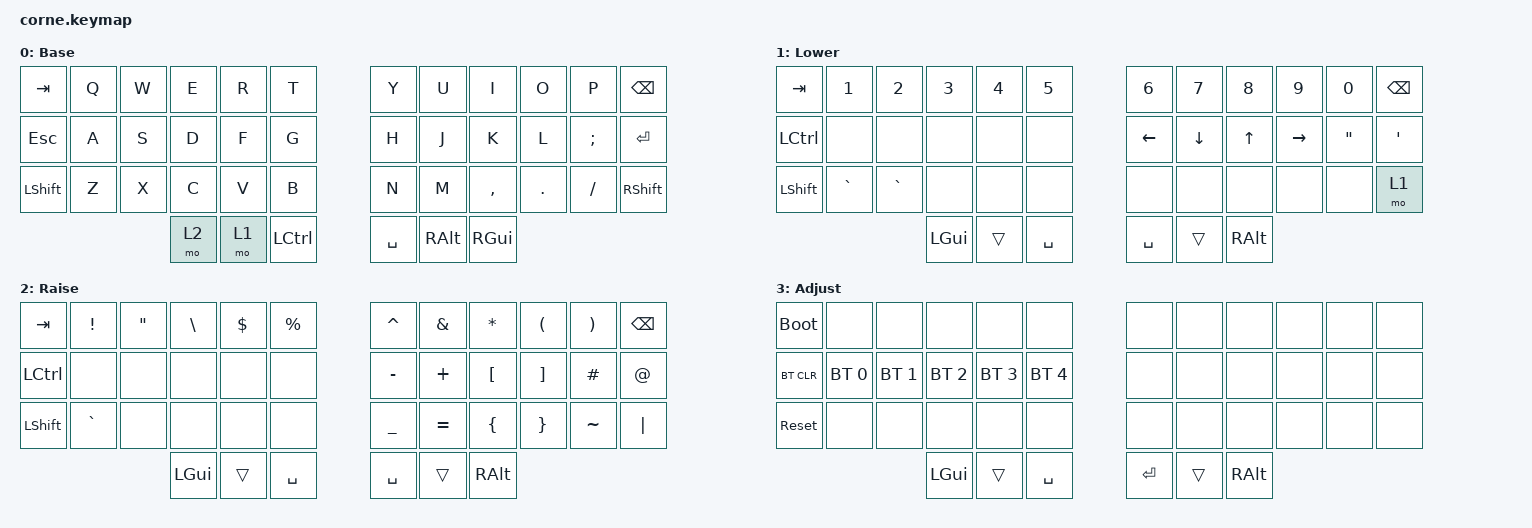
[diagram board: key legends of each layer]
/*
 * Copyright (c) 2020 The ZMK Contributors
 *
 * SPDX-License-Identifier: MIT
 */

#include <behaviors.dtsi>
#include <dt-bindings/zmk/keys.h>
#include <dt-bindings/zmk/bt.h>

/ {
        conditional_layers {
                compatible = "zmk,conditional-layers";
                tri_layer {
                        if-layers = <1 2>;
                        then-layer = <3>;
                };
        };

        keymap {
                compatible = "zmk,keymap";

                default_layer {
// -----------------------------------------------------------------------------------------
// |  TAB |  Q  |  W  |  E  |  R  |  T  |   |  Y  |  U   |  I  |  O  |  P  | BKSP |
// |  ESC |  A  |  S  |  D  |  F  |  G  |   |  H  |  J   |  K  |  L  |  ;  |  ENT |
// | SHFT |  Z  |  X  |  C  |  V  |  B  |   |  N  |  M   |  ,  |  .  |  /  | SHFT |
//                    | RSE | LWR | CTL |   | SPC | ALT  | GUI |
                        display-name = "Base";
                        bindings = <
   &kp TAB   &kp Q &kp W &kp E &kp R &kp T   &kp Y &kp U  &kp I     &kp O   &kp P    &kp BSPC
   &kp ESC   &kp A &kp S &kp D &kp F &kp G   &kp H &kp J  &kp K     &kp L   &kp SEMI &kp RET
   &kp LSHFT &kp Z &kp X &kp C &kp V &kp B   &kp N &kp M  &kp COMMA &kp DOT &kp FSLH &kp RSHFT
                    &mo 2 &mo 1 &kp LCTRL   &kp SPACE &kp RALT &kp RGUI
                        >;
                };

                lower_layer {
// -----------------------------------------------------------------------------------------
// |  TAB |  1  |  2  |  3  |  4  |  5  |   |  6  |  7  |  8  |  9  |  0  | BKSP |
// | CTL  |     |     |     |     |     |   | LFT | DWN |  UP | RGT |  "  |  '   |
// | SHFT |  `  |  `  |     |     |     |   |     |     |     |     |     | LWR  |
//                    | GUI |     | SPC |   | SPC |     | ALT |
                        display-name = "Lower";
                        bindings = <
   &kp TAB   &kp N1    &kp N2    &kp N3 &kp N4 &kp N5     &kp N6   &kp N7   &kp N8 &kp N9    &kp N0  &kp BSPC
   &kp LCTRL &none     &none     &none  &none  &none      &kp LEFT &kp DOWN &kp UP &kp RIGHT &kp DQT &kp SQT
   &kp LSHFT &kp GRAVE &kp GRAVE &none  &none  &none      &none    &none    &none  &none     &none   &mo 1
                              &kp LGUI &trans &kp SPACE   &kp SPACE &trans &kp RALT
                        >;
                };

                raise_layer {
// -----------------------------------------------------------------------------------------
// |  TAB |  !  |  "  |  \  |  $  |  %  |   |  ^  |  &  |  *  |  (  |  )  | BKSP |
// | CTL  |     |     |     |     |     |   |  -  |  +  |  [  |  ]  |  #  |  @   |
// | SHFT |  `  |     |     |     |     |   |  _  |  =  |  {  |  }  |  ~  |  |   |
//                    | GUI |     | SPC |   | SPC |     | ALT |
                        display-name = "Raise";
                        bindings = <
   &kp TAB   &kp EXCL  &kp DQT &kp BSLH &kp DLLR &kp PRCNT   &kp CARET &kp AMPS  &kp STAR &kp LPAR &kp RPAR &kp BSPC
   &kp LCTRL &none     &none   &none    &none    &none       &kp MINUS &kp PLUS  &kp LBKT &kp RBKT &kp HASH &kp AT
   &kp LSHFT &kp GRAVE &none   &none    &none    &none       &kp UNDER &kp EQUAL &kp LBRC &kp RBRC &kp TILDE &kp PIPE
                              &kp LGUI &trans &kp SPACE   &kp SPACE &trans &kp RALT
                        >;
                };

                adjust_layer {
// -----------------------------------------------------------------------------------------
// | BOOT |     |     |     |     |     |   |     |     |     |     |     |      |
// | BTCLR| BT0 | BT1 | BT2 | BT3 | BT4 |   |     |     |     |     |     |      |
// | RST  |     |     |     |     |     |   |     |     |     |     |     |      |
//                    | GUI |     | SPC |   | ENT |     | ALT |
                        display-name = "Adjust";
                        bindings = <
   &bootloader &none        &none        &none        &none        &none          &none &none &none &none &none &none
   &bt BT_CLR  &bt BT_SEL 0 &bt BT_SEL 1 &bt BT_SEL 2 &bt BT_SEL 3 &bt BT_SEL 4   &none &none &none &none &none &none
   &sys_reset  &none        &none        &none        &none        &none          &none &none &none &none &none &none
                                         &kp LGUI &trans &kp SPACE   &kp RET &trans &kp RALT
                        >;
                };

                extra_1 {
                        status = "reserved";
                };

                extra_2 {
                        status = "reserved";
                };
        };
};
